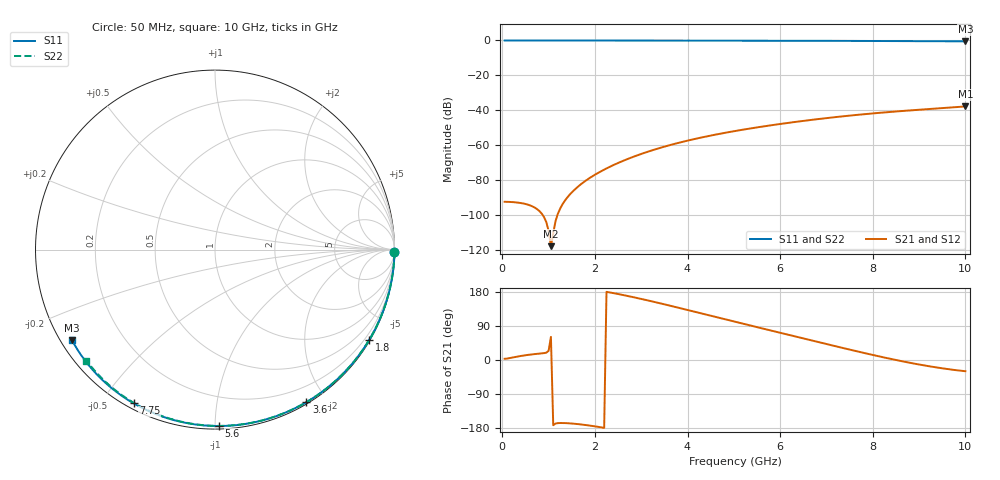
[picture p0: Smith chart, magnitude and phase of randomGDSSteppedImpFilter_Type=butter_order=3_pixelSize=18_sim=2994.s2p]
! freq	dB(S11)	phase(S11)	dB(S12)	phase(S12)
!  dB(S21)	phase(S21)	dB(S22)	phase(S22)
!S-par simulation data
#  GHz  S  DB  R 50
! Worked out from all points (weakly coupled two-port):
!   200 points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, 50 MHz to 10 GHz, reference 50 ohm
!   highest |S21| = -37.74 dB at 10 GHz (marker M1); lowest = -117.6 dB at 1.05 GHz (marker M2)
!   lowest |S11| = -0.5 dB at 10 GHz (marker M3), VSWR 34.08, Z = 1.59 - j14.5 ohm
!   |S11| at or under -10 dB: nowhere
!   |S22| runs from -0.5 to 0.0 dB; largest |S21 - S12| = 0
!   S11 on the Smith chart (normalised r, x): 50 MHz: open; 1.8 GHz: 0.03, -3.69; 3.6 GHz: 0.02, -1.76; 5.6 GHz: 0.02, -1.02; 7.75 GHz: 0.02, -0.60; 10 GHz: 0.03, -0.29
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0.05  -0.00 -0.9  -92.23 3.2  -92.23 3.2  -0.00 -0.8
0.55  -0.01 -9.4  -93.86 13.4  -93.86 13.4  -0.01 -8.8
1.05  -0.02 -17.8  -117.61 61.0  -117.61 61.0  -0.02 -16.8
1.75  -0.04 -29.5  -81.16 -170.8  -81.16 -170.8  -0.04 -27.8
1.8  -0.04 -30.3  -80.20 -171.6  -80.20 -171.6  -0.04 -28.6
2.15  -0.05 -36.0  -74.54 -178.0  -74.54 -178.0  -0.04 -34.0
2.3  -0.05 -38.5  -72.51 178.8  -72.51 178.8  -0.05 -36.3
2.5  -0.05 -41.7  -70.05 174.1  -70.05 174.1  -0.05 -39.3
2.9  -0.06 -48.1  -65.82 163.9  -65.82 163.9  -0.06 -45.4
3.4  -0.07 -56.0  -61.48 149.9  -61.48 149.9  -0.07 -52.8
3.6  -0.08 -59.1  -59.97 144.0  -59.97 144.0  -0.08 -55.8
3.9  -0.09 -63.7  -57.91 135.0  -57.91 135.0  -0.08 -60.1
4.3  -0.10 -69.7  -55.48 122.9  -55.48 122.9  -0.09 -65.9
5.05  -0.12 -80.8  -51.66 100.2  -51.66 100.2  -0.12 -76.4
5.6  -0.15 -88.7  -49.30 83.7  -49.30 83.7  -0.14 -83.9
6.15  -0.17 -96.4  -47.20 67.3  -47.20 67.3  -0.16 -91.2
6.7  -0.20 -103.9  -45.33 51.0  -45.33 51.0  -0.19 -98.4
7.2  -0.23 -110.6  -43.80 36.2  -43.80 36.2  -0.22 -104.8
7.75  -0.27 -117.9  -42.32 20.3  -42.32 20.3  -0.26 -111.7
8.35  -0.32 -125.8  -40.92 3.9  -40.92 3.9  -0.31 -119.1
9.2  -0.41 -137.0  -39.23 -16.1  -39.23 -16.1  -0.39 -129.5
10  -0.51 -147.7  -37.74 -29.6  -37.74 -29.6  -0.48 -139.2
